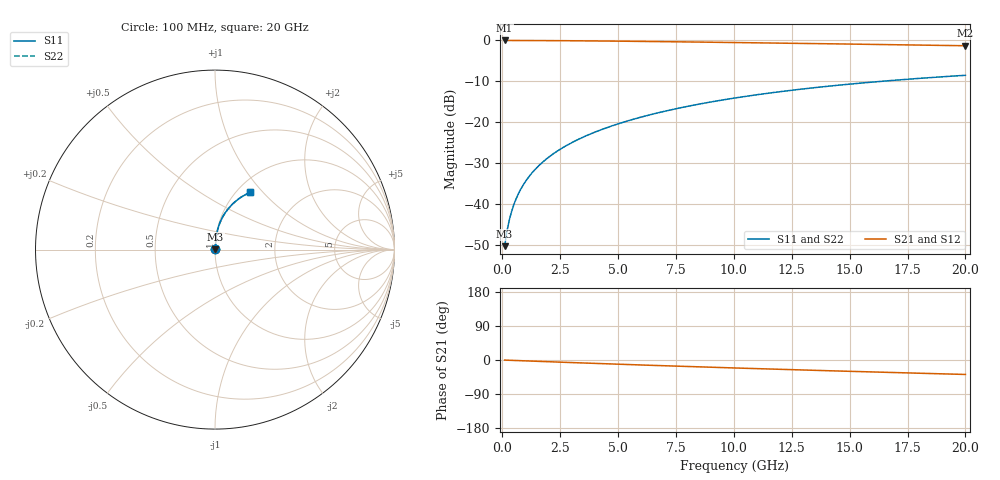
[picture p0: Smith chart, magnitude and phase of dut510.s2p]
! Touchstone file exported from HFSS 2024.1.0
!  File:  C:/UserFiles/LocalFiles/RDL_TSV_Batchsim/temp_RDL_top_510_1779679406.aedt
!  Generated:  11:25:52 AM May 25, 2026
!  Design:  RDL_top
!  Project:  temp_RDL_top_510_1779679406
!  Setup:  Setup1
!  Solution:  Sweep
! Variables:
!  dtsv = 10.80580581um
!  hbump = 3um
!  htsv = 66.38um
!  ldown = 100um
!  lrdl = 514.43um
!  p = 40
!  p1 = 54.29um
!  rhole = 1um
!  t = 450um
!  tdown = 3.915915916um
!  trdl = 4.02um
!  wdown = 15.38538539um
!  wrdl = 20.91um
# GHz S MA R 50.000000
! Terminal data exported
! Port[1] = Box2_T1
! Port[2] = Box2_T2
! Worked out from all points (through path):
!   200 points, 100 MHz to 20 GHz, reference 50 ohm
!   highest |S21| = -0.02 dB at 100 MHz (marker M1); lowest = -1.3 dB at 20 GHz (marker M2)
!   group delay of S21, straight-line fit = 5.26 ps
!   lowest |S11| = -50.2 dB at 100 MHz (marker M3), VSWR 1.01, Z = 50.2 + j0.202 ohm
!   |S11| at or under -10 dB: start of sweep to 16.35 GHz
!   |S22| runs from -50.2 to -8.5 dB; largest |S21 - S12| = 2.7e-15
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0.1  0.003081 40.7  0.9977 -0.2  0.9977 -0.2  0.003081 40.7
! Gamma 0 0 0 0
! Port Impedance 50 0 50 0
0.2  0.004652 58.2  0.9975 -0.5  0.9975 -0.5  0.004651 58.2
0.3  0.006379 66.3  0.9974 -0.7  0.9974 -0.7  0.006379 66.3
0.4  0.008138 70.8  0.9972 -0.9  0.9972 -0.9  0.008137 70.8
0.5  0.00991 73.9  0.9971 -1.2  0.9971 -1.2  0.00991 73.9
0.6  0.0117 76.0  0.9969 -1.4  0.9969 -1.4  0.0117 76.0
0.8  0.0153 78.9  0.9966 -1.8  0.9966 -1.8  0.0153 78.9
1.1  0.02077 81.3  0.9961 -2.5  0.9961 -2.5  0.02077 81.3
1.5  0.02815 83.0  0.9952 -3.4  0.9952 -3.4  0.02815 83.0
1.8  0.03374 83.7  0.9943 -4.1  0.9943 -4.1  0.03374 83.7
2.1  0.03937 84.1  0.9933 -4.8  0.9933 -4.8  0.03937 84.2
2.7  0.05074 84.5  0.991 -6.1  0.991 -6.1  0.05074 84.5
3.5  0.06615 84.4  0.9872 -7.9  0.9872 -7.9  0.06615 84.4
4.2  0.07985 84.0  0.9833 -9.4  0.9833 -9.4  0.07986 84.0
5  0.09575 83.3  0.9784 -11.1  0.9784 -11.1  0.09576 83.3
5.9  0.1139 82.3  0.9724 -13.0  0.9724 -13.0  0.1139 82.3
6.8  0.1322 81.0  0.966 -14.8  0.966 -14.8  0.1322 81.1
8.4  0.1648 78.6  0.9541 -17.9  0.9541 -17.9  0.1648 78.6
10.1  0.1992 75.7  0.9409 -21.1  0.9409 -21.1  0.1992 75.7
13.4  0.2633 69.8  0.9145 -27.1  0.9145 -27.1  0.2633 69.8
16.7  0.3221 63.9  0.8873 -32.8  0.8873 -32.8  0.3222 63.9
20  0.3748 58.3  0.8599 -38.1  0.8599 -38.1  0.3749 58.3
